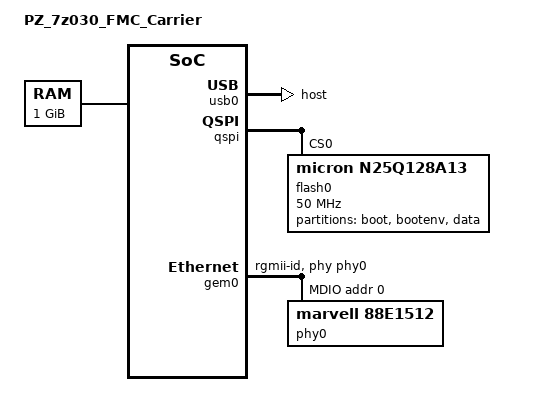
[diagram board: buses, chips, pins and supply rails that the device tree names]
/dts-v1/;
/include/ "system.dts"

/ {
	model = "PZ_7z030_FMC_Carrier";
	aliases {
		ethernet0 = &gem0;
		serial0 = &uart1;
	};
	chosen {
		bootargs = "console=ttyPS0,115200 root=/dev/ram rw earlyprintk";
	};
	memory {
		device_type = "memory";
		reg = <0x0 0x40000000>;
	};
};

&usb0 {
	dr_mode = "host";
	phy_type = "ulpi";
	status = "okay";
	usb-reset = <&gpio0 7 0>;
};

&clkc {
	fclk-enable = <0xf>;
	ps-clk-frequency = <33333333>;
};

&qspi {
	#address-cells = <1>;
	#size-cells = <0>;
	flash0: flash@0 {
		compatible = "micron,n25q128a13";
		reg = <0x0>;
		#address-cells = <1>;
		#size-cells = <1>;
		spi-max-frequency = <50000000>;
		partition@0x00000000 {
			label = "boot";
			reg = <0x0 0x500000>;
		};
		partition@0x00500000 {
			label = "bootenv";
			reg = <0x500000 0x20000>;
		};
		partition@0x00520000 {
			label = "data";
			reg = <0x520000 0xae0000>;
		};
	};
};

&gem0 {
	phy-handle = <&phy0>;
	phy-mode = "rgmii-id";
	local-mac-address = [00 0a 35 00 22 5c];
	enet-reset = <&gpio0 47 0>;
	mdio {
		#address-cells = <1>;
		#size-cells = <0>;
		phy0: phy@0 {
			compatible = "marvell,88e1512";
			device_type = "ethernet-phy";
			reg = <0x0>;
			marvell,reg-init = <3 16 0xff00 0x1e 3 17 0xfff0 0x00>;
		};
	};
};

/ {
	amba_pl: amba_pl {
		#address-cells = <1>;
		#size-cells = <1>;
		compatible = "simple-bus";
		ranges ;
		panda_pcap_0: panda_pcap@43c00000 {
			compatible = "xlnx,panda-pcap-1.0";
			interrupt-parent = <&intc>;
			interrupts = <0 29 1>;
			reg = <0x43c00000 0x20000>;
			xlnx,s00-axi-addr-width = <0x17>;
			xlnx,s00-axi-data-width = <0x20>;
		};
	};
};
